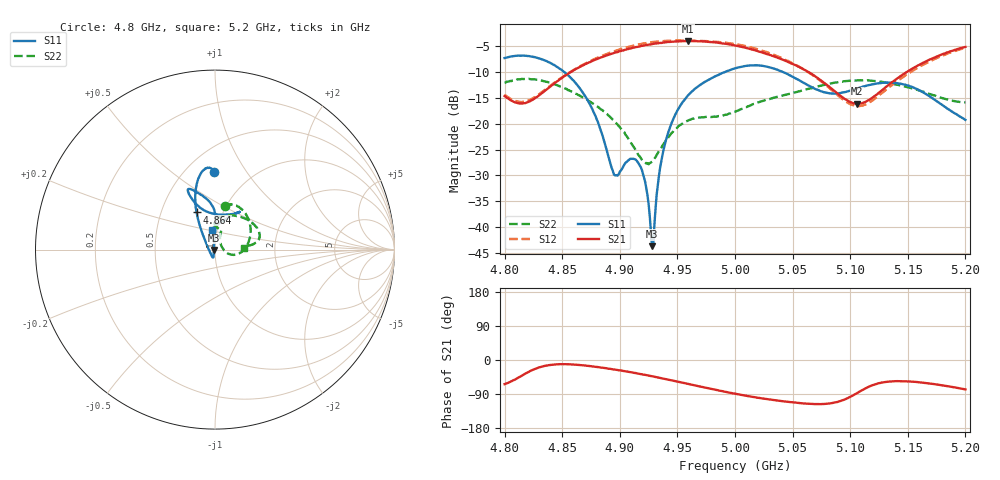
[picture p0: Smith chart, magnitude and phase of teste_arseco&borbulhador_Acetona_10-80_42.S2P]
! Network Analyzer HP8722D
! Hewlett-Packard
! Data name: Linha & Wilkinson
! Saver's name: Rodrigo Anjos
! Comments: Teste da utilização de aquisição
! continua pelo VNA HP8722D
! Time and date: 25/4/2025 15:37
!  Frequency  S11  S21  S12  S22
# HZ  S  MA R 50
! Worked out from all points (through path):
!   401 points, 4.8 GHz to 5.2 GHz, reference 50 ohm
!   highest |S21| = -3.96 dB at 4.959 GHz (marker M1); lowest = -16.1 dB at 5.106 GHz (marker M2)
!   lowest |S11| = -43.7 dB at 4.928 GHz (marker M3), VSWR 1.01, Z = 49.4 - j0.208 ohm
!   |S11| at or under -10 dB: 4.852 GHz to 4.991 GHz (139 MHz wide, 2.82 % of centre); 5.042 GHz to end of sweep
!   |S22| runs from -27.8 to -11.3 dB; largest |S21 - S12| = 1.2
!   S11 on the Smith chart (normalised r, x): 4.8 GHz: 0.68, +0.72; 4.864 GHz: 0.75, +0.33; 5.2 GHz: 0.94, +0.20
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4.8e9  0.434 90.6  0.1858 -63.8  0.191 69.6  0.2503 77.5
4.82e9  0.4529 96.8  0.1616 -32.6  0.1674 98.3  0.272 61.4
4.843e9  0.3714 106.1  0.2454 -12.0  0.2494 118.7  0.2437 36.8
4.864e9  0.2309 116.3  0.3496 -12.9  0.3527 121.0  0.1899 12.0
4.867e9  0.2074 118.1  0.3642 -13.9  0.3682 120.6  0.1826 8.7
4.88e9  0.1102 128.5  0.4234 -18.4  0.4341 118.2  0.1485 -5.3
4.896e9  0.03161 -163.4  0.4905 -25.2  0.5078 113.3  0.1045 -16.0
4.909e9  0.04583 -106.2  0.5356 -32.0  0.5603 107.7  0.06725 -14.4
4.917e9  0.03997 -102.1  0.5604 -36.4  0.5901 103.5  0.04872 -1.5
4.923e9  0.02384 -107.6  0.5792 -39.9  0.6065 99.9  0.04124 19.8
4.928e9  0.006531 -161.2  0.5917 -42.8  0.6187 97.1  0.04309 40.8
4.93e9  0.01035 124.5  0.597 -44.3  0.6207 95.7  0.04595 48.2
4.934e9  0.03147 98.6  0.6055 -46.8  0.6293 93.2  0.05434 57.8
4.944e9  0.09512 90.1  0.6224 -53.2  0.6368 86.8  0.07899 69.4
4.959e9  0.1875 89.3  0.6337 -62.9  0.6398 77.2  0.1075 71.6
5e9  0.3445 109.0  0.5738 -89.0  0.5929 50.8  0.1309 88.6
5.03e9  0.3529 115.0  0.465 -104.1  0.4819 33.8  0.1737 85.5
5.067e9  0.2257 105.0  0.3022 -115.9  0.2988 23.5  0.2216 57.2
5.106e9  0.2193 64.3  0.1564 -87.2  0.1483 55.8  0.2637 24.8
5.134e9  0.2507 56.9  0.241 -56.7  0.227 88.6  0.2484 12.4
5.169e9  0.1845 69.4  0.4189 -62.0  0.4018 84.8  0.1943 6.8
5.2e9  0.1092 100.3  0.5559 -77.6  0.5461 70.1  0.1608 3.9
